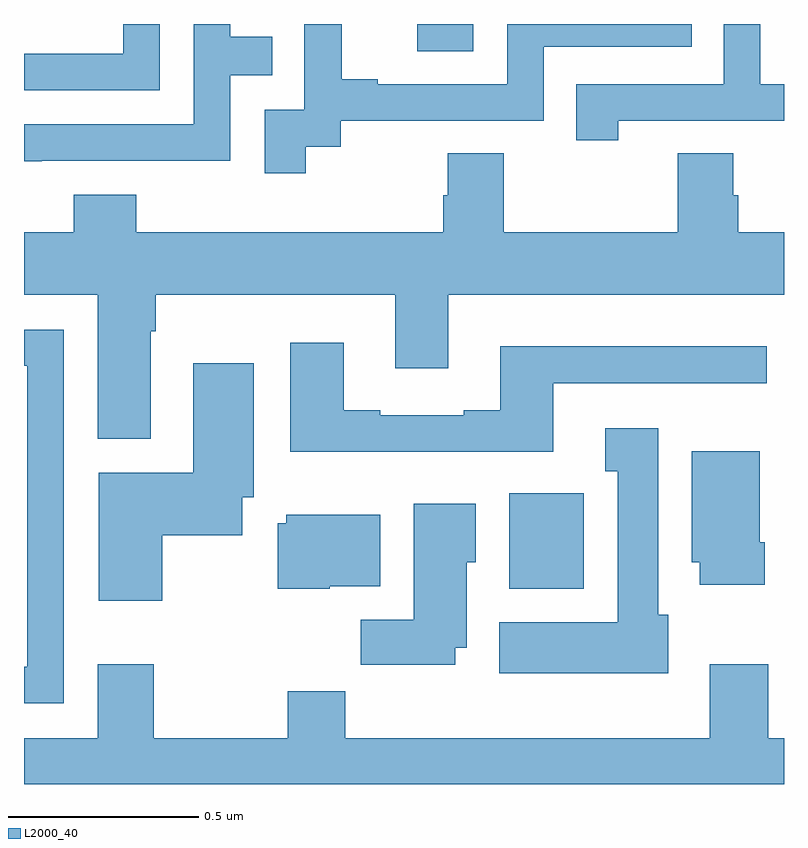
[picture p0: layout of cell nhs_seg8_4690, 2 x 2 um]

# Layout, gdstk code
import gdstk
lib = gdstk.Library(unit=1e-6, precision=1e-09)
def R(c, l, rs):  # rectangles x0, y0, x1, y1
    for r in rs: c.add(gdstk.rectangle(r[:2], r[2:], *l))
def P(c, l, *ps):  # polygons
    for p in ps: c.add(gdstk.Polygon(p, *l))
L2000_40 = (2000, 40)

nhs_seg8_4690 = lib.new_cell('nhs_seg8_4690')
R(nhs_seg8_4690, L2000_40, [(175.277,1094.414,175.473,1094.665), (175.035,1095.828,175.182,1095.9)])
P(nhs_seg8_4690, L2000_40, [(174.742,1095.577),(174.834,1095.577),(174.834,1095.645),(175.368,1095.645),(175.368,1095.84),(175.757,1095.84),(175.757,1095.9),(175.272,1095.9),(175.272,1095.741),(174.931,1095.741),(174.931,1095.754),(174.836,1095.754),(174.836,1095.9),(174.738,1095.9),(174.738,1095.675),(174.633,1095.675),(174.633,1095.507),(174.742,1095.507)],
  [(174.357,1095.9),(174.261,1095.9),(174.261,1095.822),(174,1095.822),(174,1095.726),(174.357,1095.726)],
  [(174.047,1095.54),(174.543,1095.54),(174.543,1095.765),(174.653,1095.765),(174.653,1095.866),(174.543,1095.866),(174.543,1095.9),(174.447,1095.9),(174.447,1095.636),(174,1095.636),(174,1095.539),(174.047,1095.539)],
  [(175.564,1095.645),(176,1095.645),(176,1095.741),(175.938,1095.741),(175.938,1095.9),(175.842,1095.9),(175.842,1095.741),(175.453,1095.741),(175.453,1095.594),(175.564,1095.594)],
  [(174.334,1095.092),(174.347,1095.092),(174.347,1095.188),(174.977,1095.188),(174.977,1094.994),(175.117,1094.994),(175.117,1095.188),(176,1095.188),(176,1095.352),(175.88,1095.352),(175.88,1095.45),(175.867,1095.45),(175.867,1095.56),(175.72,1095.56),(175.72,1095.352),(175.263,1095.352),(175.263,1095.56),(175.115,1095.56),(175.115,1095.45),(175.103,1095.45),(175.103,1095.352),(174.296,1095.352),(174.296,1095.451),(174.131,1095.451),(174.131,1095.352),(174,1095.352),(174,1095.188),(174.194,1095.188),(174.194,1094.808),(174.334,1094.808)],
  [(174.105,1095.096),(174,1095.096),(174,1095.001),(174.009,1095.001),(174.009,1094.208),(174,1094.208),(174,1094.112),(174.105,1094.112)],
  [(175.393,1094.955),(175.954,1094.955),(175.954,1095.052),(175.253,1095.052),(175.253,1094.884),(175.157,1094.884),(175.157,1094.871),(174.937,1094.871),(174.937,1094.884),(174.841,1094.884),(174.841,1095.061),(174.701,1095.061),(174.701,1094.774),(175.393,1094.774)],
  [(174.364,1094.555),(174.574,1094.555),(174.574,1094.654),(174.604,1094.654),(174.604,1095.007),(174.446,1095.007),(174.446,1094.719),(174.197,1094.719),(174.197,1094.382),(174.364,1094.382)],
  [(175.696,1094.346),(175.669,1094.346),(175.669,1094.836),(175.529,1094.836),(175.529,1094.723),(175.562,1094.723),(175.562,1094.326),(175.25,1094.326),(175.25,1094.192),(175.696,1094.192)],
  [(175.949,1094.536),(175.936,1094.536),(175.936,1094.776),(175.757,1094.776),(175.757,1094.484),(175.778,1094.484),(175.778,1094.424),(175.949,1094.424)],
  [(175.135,1094.258),(175.165,1094.258),(175.165,1094.484),(175.189,1094.484),(175.189,1094.638),(175.025,1094.638),(175.025,1094.332),(174.886,1094.332),(174.886,1094.214),(175.135,1094.214)],
  [(174.804,1094.42),(174.937,1094.42),(174.937,1094.608),(174.69,1094.608),(174.69,1094.586),(174.668,1094.586),(174.668,1094.414),(174.804,1094.414)],
  [(176,1094.02),(175.958,1094.02),(175.958,1094.215),(175.805,1094.215),(175.805,1094.02),(174.845,1094.02),(174.845,1094.144),(174.694,1094.144),(174.694,1094.02),(174.342,1094.02),(174.342,1094.215),(174.194,1094.215),(174.194,1094.02),(174,1094.02),(174,1093.9),(176,1093.9)])

lib.write_gds('nhs_seg8_4690.gds')
